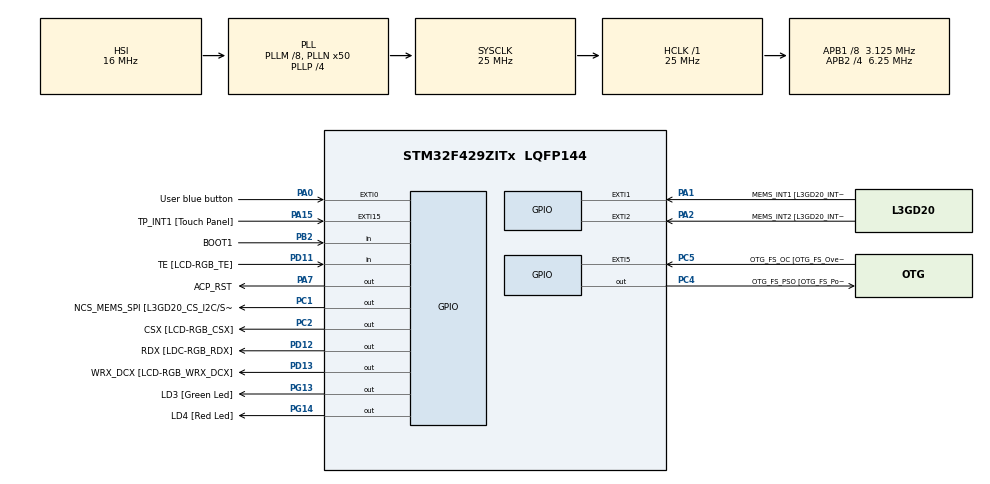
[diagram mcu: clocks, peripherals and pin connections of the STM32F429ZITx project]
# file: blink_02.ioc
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Mcu.Family=STM32F4
Mcu.Name=STM32F429ZITx
Mcu.Package=LQFP144
NVIC.EXTI0_IRQn=true\:0\:0\:false\:false\:true\:true\:true\:true
NVIC.PriorityGroup=NVIC_PRIORITYGROUP_0
PA0/WKUP.GPIO_Label=User blue button 
PA0/WKUP.GPIO_ModeDefaultEXTI=GPIO_MODE_IT_RISING_FALLING
PA0/WKUP.Signal=GPXTI0
PA1.GPIO_Label=MEMS_INT1 [L3GD20_INT1]
PA1.GPIO_ModeDefaultEXTI=GPIO_MODE_EVT_RISING
PA1.GPIO_PuPd=GPIO_NOPULL
PA1.Signal=GPXTI1
PA10.GPIO_Label=STLINK_TX [STM32F103CBT6_PA2]
PA10.Signal=USART1_RX
PA11.GPIO_Label=R4
PA11.GPIO_Mode=GPIO_MODE_AF_PP
PA11.GPIO_PuPd=GPIO_NOPULL
PA11.GPIO_Speed=GPIO_SPEED_FREQ_LOW
PA11.Signal=LTDC_R4
PA12.GPIO_Label=R5
PA12.GPIO_Mode=GPIO_MODE_AF_PP
PA12.GPIO_PuPd=GPIO_NOPULL
PA12.GPIO_Speed=GPIO_SPEED_FREQ_LOW
PA12.Signal=LTDC_R5
PA13.GPIO_Label=SWDIO
PA13.Signal=SYS_JTMS-SWDIO
PA14.GPIO_Label=SWCLK
PA14.Signal=SYS_JTCK-SWCLK
PA15.GPIO_Label=TP_INT1 [Touch Panel]
PA15.GPIO_ModeDefaultEXTI=GPIO_MODE_EVT_RISING
PA15.GPIO_PuPd=GPIO_NOPULL
PA15.Signal=GPXTI15
PA2.GPIO_Label=MEMS_INT2 [L3GD20_INT2]
PA2.GPIO_ModeDefaultEXTI=GPIO_MODE_EVT_RISING
PA2.GPIO_PuPd=GPIO_NOPULL
PA2.Signal=GPXTI2
PA3.GPIO_Label=B5
PA3.GPIO_Mode=GPIO_MODE_AF_PP
PA3.GPIO_PuPd=GPIO_NOPULL
PA3.GPIO_Speed=GPIO_SPEED_FREQ_LOW
PA3.Signal=LTDC_B5
PA4.GPIO_Label=VSYNC
PA4.GPIO_Mode=GPIO_MODE_AF_PP
PA4.GPIO_PuPd=GPIO_NOPULL
PA4.GPIO_Speed=GPIO_SPEED_FREQ_LOW
PA4.Signal=LTDC_VSYNC
PA6.GPIO_Label=G2
PA6.GPIO_Mode=GPIO_MODE_AF_PP
PA6.GPIO_PuPd=GPIO_NOPULL
PA6.GPIO_Speed=GPIO_SPEED_FREQ_LOW
PA6.Signal=LTDC_G2
PA7.GPIO_Label=ACP_RST
PA7.GPIO_Mode=GPIO_MODE_OUTPUT_PP
PA7.GPIO_PuPd=GPIO_NOPULL
PA7.GPIO_Speed=GPIO_SPEED_FREQ_LOW
PA7.Signal=GPIO_Output
PA8.GPIO_Label=I2C3_SCL [ACP/RF_SCL]
PA8.GPIO_Mode=GPIO_MODE_AF_OD
PA8.GPIO_PuPd=GPIO_NOPULL
PA8.GPIO_Speed=GPIO_SPEED_FREQ_LOW
PA8.Signal=I2C3_SCL
PA9.GPIO_Label=STLINK_RX [STM32F103CBT6_PA3]
PA9.Signal=USART1_TX
PB0.GPIO_Label=R3
PB0.GPIO_Mode=GPIO_MODE_AF_PP
PB0.GPIO_PuPd=GPIO_NOPULL
PB0.GPIO_Speed=GPIO_SPEED_FREQ_LOW
PB0.Signal=LTDC_R3
PB1.GPIO_Label=R6
PB1.GPIO_Mode=GPIO_MODE_AF_PP
PB1.GPIO_PuPd=GPIO_NOPULL
PB1.GPIO_Speed=GPIO_SPEED_FREQ_LOW
PB1.Signal=LTDC_R6
PB10.GPIO_Label=G4
PB10.GPIO_Mode=GPIO_MODE_AF_PP
PB10.GPIO_PuPd=GPIO_NOPULL
PB10.GPIO_Speed=GPIO_SPEED_FREQ_LOW
PB10.Signal=LTDC_G4
PB11.GPIO_Label=G5
PB11.GPIO_Mode=GPIO_MODE_AF_PP
PB11.GPIO_PuPd=GPIO_NOPULL
PB11.GPIO_Speed=GPIO_SPEED_FREQ_LOW
PB11.Signal=LTDC_G5
PB12.GPIO_Label=OTG_HS_ID
PB12.GPIO_Mode=GPIO_MODE_AF_PP
PB12.GPIO_PuPd=GPIO_NOPULL
PB12.GPIO_Speed=GPIO_SPEED_FREQ_LOW
PB12.Signal=USB_OTG_HS_ID
PB13.GPIO_Label=VBUS_HS
PB13.GPIO_Mode=GPIO_MODE_INPUT
PB13.GPIO_PuPd=GPIO_NOPULL
PB13.Signal=USB_OTG_HS_VBUS
PB14.GPIO_Label=OTG_HS_DM
PB14.GPIO_Mode=GPIO_MODE_AF_PP
PB14.GPIO_PuPd=GPIO_NOPULL
PB14.GPIO_Speed=GPIO_SPEED_FREQ_LOW
PB14.Signal=USB_OTG_HS_DM
PB15.GPIO_Label=OTG_HS_DP
PB15.GPIO_Mode=GPIO_MODE_AF_PP
PB15.GPIO_PuPd=GPIO_NOPULL
PB15.GPIO_Speed=GPIO_SPEED_FREQ_LOW
PB15.Signal=USB_OTG_HS_DP
PB2/BOOT1.GPIO_Label=BOOT1
PB2/BOOT1.GPIO_Mode=GPIO_MODE_INPUT
PB2/BOOT1.GPIO_PuPd=GPIO_NOPULL
PB2/BOOT1.Signal=GPIO_Input
PB5.GPIO_Label=SDCKE1
PB5.GPIO_Mode=GPIO_MODE_AF_PP
PB5.GPIO_PuPd=GPIO_NOPULL
PB5.GPIO_Speed=GPIO_SPEED_FREQ_VERY_HIGH
PB5.Signal=FMC_SDCKE1
PB6.GPIO_Label=SDNE1 [SDRAM_CS]
PB6.GPIO_Mode=GPIO_MODE_AF_PP
PB6.GPIO_PuPd=GPIO_NOPULL
PB6.GPIO_Speed=GPIO_SPEED_FREQ_VERY_HIGH
PB6.Signal=FMC_SDNE1
PB8.GPIO_Label=B6
PB8.GPIO_Mode=GPIO_MODE_AF_PP
PB8.GPIO_PuPd=GPIO_NOPULL
PB8.GPIO_Speed=GPIO_SPEED_FREQ_LOW
PB8.Signal=LTDC_B6
PB9.GPIO_Label=B7
PB9.GPIO_Mode=GPIO_MODE_AF_PP
PB9.GPIO_PuPd=GPIO_NOPULL
PB9.GPIO_Speed=GPIO_SPEED_FREQ_LOW
PB9.Signal=LTDC_B7
PC0.GPIO_Label=SDNWE
PC0.GPIO_Mode=GPIO_MODE_AF_PP
PC0.GPIO_PuPd=GPIO_NOPULL
PC0.GPIO_Speed=GPIO_SPEED_FREQ_VERY_HIGH
PC0.Signal=FMC_SDNWE
PC1.GPIO_Label=NCS_MEMS_SPI [L3GD20_CS_I2C/SPI]
PC1.GPIO_Mode=GPIO_MODE_OUTPUT_PP
PC1.GPIO_PuPd=GPIO_NOPULL
PC1.GPIO_Speed=GPIO_SPEED_FREQ_LOW
PC1.Signal=GPIO_Output
PC10.GPIO_Label=R2
PC10.GPIO_Mode=GPIO_MODE_AF_PP
PC10.GPIO_PuPd=GPIO_NOPULL
PC10.GPIO_Speed=GPIO_SPEED_FREQ_LOW
PC10.Signal=LTDC_R2
PC14/OSC32_IN.GPIO_Label=PC14-OSC32_IN
PC14/OSC32_IN.Signal=RCC_OSC32_IN
PC15/OSC32_OUT.GPIO_Label=PC15-OSC32_OUT
PC15/OSC32_OUT.Signal=RCC_OSC32_OUT
PC2.GPIO_Label=CSX [LCD-RGB_CSX]
PC2.GPIO_Mode=GPIO_MODE_OUTPUT_PP
PC2.GPIO_PuPd=GPIO_NOPULL
PC2.GPIO_Speed=GPIO_SPEED_FREQ_LOW
PC2.Signal=GPIO_Output
PC4.GPIO_Label=OTG_FS_PSO [OTG_FS_PowerSwitchOn]
PC4.GPIO_Mode=GPIO_MODE_OUTPUT_PP
PC4.GPIO_PuPd=GPIO_NOPULL
PC4.GPIO_Speed=GPIO_SPEED_FREQ_LOW
PC4.Signal=GPIO_Output
PC5.GPIO_Label=OTG_FS_OC [OTG_FS_OverCurrent]
PC5.GPIO_ModeDefaultEXTI=GPIO_MODE_EVT_RISING
PC5.Signal=GPXTI5
PC6.GPIO_Label=HSYNC
PC6.GPIO_Mode=GPIO_MODE_AF_PP
PC6.GPIO_PuPd=GPIO_NOPULL
PC6.GPIO_Speed=GPIO_SPEED_FREQ_LOW
PC6.Signal=LTDC_HSYNC
PC7.GPIO_Label=G6
PC7.GPIO_Mode=GPIO_MODE_AF_PP
PC7.GPIO_PuPd=GPIO_NOPULL
PC7.GPIO_Speed=GPIO_SPEED_FREQ_LOW
PC7.Signal=LTDC_G6
PC9.GPIO_Label=I2C3_SDA [ACP/RF_SDA]
PC9.GPIO_Mode=GPIO_MODE_AF_OD
PC9.GPIO_PuPd=GPIO_NOPULL
PC9.GPIO_Speed=GPIO_SPEED_FREQ_LOW
PC9.Signal=I2C3_SDA
PD0.GPIO_Label=D2
PD0.GPIO_Mode=GPIO_MODE_AF_PP
PD0.GPIO_PuPd=GPIO_NOPULL
PD0.GPIO_Speed=GPIO_SPEED_FREQ_VERY_HIGH
PD0.Signal=FMC_D2_DA2
PD1.GPIO_Label=D3
PD1.GPIO_Mode=GPIO_MODE_AF_PP
PD1.GPIO_PuPd=GPIO_NOPULL
PD1.GPIO_Speed=GPIO_SPEED_FREQ_VERY_HIGH
PD1.Signal=FMC_D3_DA3
PD10.GPIO_Label=D15
PD10.GPIO_Mode=GPIO_MODE_AF_PP
PD10.GPIO_PuPd=GPIO_NOPULL
PD10.GPIO_Speed=GPIO_SPEED_FREQ_VERY_HIGH
PD10.Signal=FMC_D15_DA15
PD11.GPIO_Label=TE [LCD-RGB_TE]
PD11.GPIO_Mode=GPIO_MODE_INPUT
PD11.GPIO_PuPd=GPIO_NOPULL
PD11.Signal=GPIO_Input
PD12.GPIO_Label=RDX [LDC-RGB_RDX]
PD12.GPIO_Mode=GPIO_MODE_OUTPUT_PP
PD12.GPIO_PuPd=GPIO_NOPULL
PD12.GPIO_Speed=GPIO_SPEED_FREQ_LOW
PD12.Signal=GPIO_Output
PD13.GPIO_Label=WRX_DCX [LCD-RGB_WRX_DCX]
PD13.GPIO_Mode=GPIO_MODE_OUTPUT_PP
PD13.GPIO_PuPd=GPIO_NOPULL
PD13.GPIO_Speed=GPIO_SPEED_FREQ_LOW
PD13.Signal=GPIO_Output
PD14.GPIO_Label=D0
PD14.GPIO_Mode=GPIO_MODE_AF_PP
PD14.GPIO_PuPd=GPIO_NOPULL
PD14.GPIO_Speed=GPIO_SPEED_FREQ_VERY_HIGH
PD14.Signal=FMC_D0_DA0
PD15.GPIO_Label=D1
PD15.GPIO_Mode=GPIO_MODE_AF_PP
PD15.GPIO_PuPd=GPIO_NOPULL
PD15.GPIO_Speed=GPIO_SPEED_FREQ_VERY_HIGH
PD15.Signal=FMC_D1_DA1
PD3.GPIO_Label=G7
PD3.GPIO_Mode=GPIO_MODE_AF_PP
PD3.GPIO_PuPd=GPIO_NOPULL
PD3.GPIO_Speed=GPIO_SPEED_FREQ_LOW
PD3.Signal=LTDC_G7
PD6.GPIO_Label=B2
PD6.GPIO_Mode=GPIO_MODE_AF_PP
PD6.GPIO_PuPd=GPIO_NOPULL
PD6.GPIO_Speed=GPIO_SPEED_FREQ_LOW
PD6.Signal=LTDC_B2
PD8.GPIO_Label=D13
PD8.GPIO_Mode=GPIO_MODE_AF_PP
PD8.GPIO_PuPd=GPIO_NOPULL
PD8.GPIO_Speed=GPIO_SPEED_FREQ_VERY_HIGH
PD8.Signal=FMC_D13_DA13
PD9.GPIO_Label=D14
PD9.GPIO_Mode=GPIO_MODE_AF_PP
PD9.GPIO_PuPd=GPIO_NOPULL
PD9.GPIO_Speed=GPIO_SPEED_FREQ_VERY_HIGH
PD9.Signal=FMC_D14_DA14
PE0.GPIO_Label=NBL0 [SDRAM_LDQM]
PE0.GPIO_Mode=GPIO_MODE_AF_PP
PE0.GPIO_PuPd=GPIO_NOPULL
PE0.GPIO_Speed=GPIO_SPEED_FREQ_VERY_HIGH
PE0.Signal=FMC_NBL0
PE1.GPIO_Label=NBL1 [SDRAM_UDQM]
PE1.GPIO_Mode=GPIO_MODE_AF_PP
PE1.GPIO_PuPd=GPIO_NOPULL
PE1.GPIO_Speed=GPIO_SPEED_FREQ_VERY_HIGH
PE1.Signal=FMC_NBL1
PE10.GPIO_Label=D7
PE10.GPIO_Mode=GPIO_MODE_AF_PP
PE10.GPIO_PuPd=GPIO_NOPULL
PE10.GPIO_Speed=GPIO_SPEED_FREQ_VERY_HIGH
PE10.Signal=FMC_D7_DA7
PE11.GPIO_Label=D8
PE11.GPIO_Mode=GPIO_MODE_AF_PP
PE11.GPIO_PuPd=GPIO_NOPULL
PE11.GPIO_Speed=GPIO_SPEED_FREQ_VERY_HIGH
PE11.Signal=FMC_D8_DA8
PE12.GPIO_Label=D9
PE12.GPIO_Mode=GPIO_MODE_AF_PP
PE12.GPIO_PuPd=GPIO_NOPULL
PE12.GPIO_Speed=GPIO_SPEED_FREQ_VERY_HIGH
PE12.Signal=FMC_D9_DA9
PE13.GPIO_Label=D10
PE13.GPIO_Mode=GPIO_MODE_AF_PP
PE13.GPIO_PuPd=GPIO_NOPULL
PE13.GPIO_Speed=GPIO_SPEED_FREQ_VERY_HIGH
PE13.Signal=FMC_D10_DA10
PE14.GPIO_Label=D11
PE14.GPIO_Mode=GPIO_MODE_AF_PP
PE14.GPIO_PuPd=GPIO_NOPULL
PE14.GPIO_Speed=GPIO_SPEED_FREQ_VERY_HIGH
PE14.Signal=FMC_D11_DA11
PE15.GPIO_Label=D12
PE15.GPIO_Mode=GPIO_MODE_AF_PP
PE15.GPIO_PuPd=GPIO_NOPULL
PE15.GPIO_Speed=GPIO_SPEED_FREQ_VERY_HIGH
PE15.Signal=FMC_D12_DA12
PE7.GPIO_Label=D4
PE7.GPIO_Mode=GPIO_MODE_AF_PP
PE7.GPIO_PuPd=GPIO_NOPULL
PE7.GPIO_Speed=GPIO_SPEED_FREQ_VERY_HIGH
PE7.Signal=FMC_D4_DA4
PE8.GPIO_Label=D5
PE8.GPIO_Mode=GPIO_MODE_AF_PP
PE8.GPIO_PuPd=GPIO_NOPULL
PE8.GPIO_Speed=GPIO_SPEED_FREQ_VERY_HIGH
PE8.Signal=FMC_D5_DA5
PE9.GPIO_Label=D6
PE9.GPIO_Mode=GPIO_MODE_AF_PP
PE9.GPIO_PuPd=GPIO_NOPULL
PE9.GPIO_Speed=GPIO_SPEED_FREQ_VERY_HIGH
PE9.Signal=FMC_D6_DA6
PF0.GPIO_Label=A0
PF0.GPIO_Mode=GPIO_MODE_AF_PP
PF0.GPIO_PuPd=GPIO_NOPULL
PF0.GPIO_Speed=GPIO_SPEED_FREQ_VERY_HIGH
PF0.Signal=FMC_A0
PF1.GPIO_Label=A1
PF1.GPIO_Mode=GPIO_MODE_AF_PP
PF1.GPIO_PuPd=GPIO_NOPULL
PF1.GPIO_Speed=GPIO_SPEED_FREQ_VERY_HIGH
PF1.Signal=FMC_A1
PF10.GPIO_Label=ENABLE [LCD-RGB_ENABLE]
PF10.GPIO_Mode=GPIO_MODE_AF_PP
PF10.GPIO_PuPd=GPIO_NOPULL
PF10.GPIO_Speed=GPIO_SPEED_FREQ_LOW
PF10.Signal=LTDC_DE
PF11.GPIO_Label=SDNRAS
PF11.GPIO_Mode=GPIO_MODE_AF_PP
PF11.GPIO_PuPd=GPIO_NOPULL
PF11.GPIO_Speed=GPIO_SPEED_FREQ_VERY_HIGH
PF11.Signal=FMC_SDNRAS
PF12.GPIO_Label=A6
PF12.GPIO_Mode=GPIO_MODE_AF_PP
PF12.GPIO_PuPd=GPIO_NOPULL
PF12.GPIO_Speed=GPIO_SPEED_FREQ_VERY_HIGH
PF12.Signal=FMC_A6
PF13.GPIO_Label=A7
PF13.GPIO_Mode=GPIO_MODE_AF_PP
PF13.GPIO_PuPd=GPIO_NOPULL
PF13.GPIO_Speed=GPIO_SPEED_FREQ_VERY_HIGH
PF13.Signal=FMC_A7
PF14.GPIO_Label=A8
PF14.GPIO_Mode=GPIO_MODE_AF_PP
PF14.GPIO_PuPd=GPIO_NOPULL
PF14.GPIO_Speed=GPIO_SPEED_FREQ_VERY_HIGH
PF14.Signal=FMC_A8
PF15.GPIO_Label=A9
PF15.GPIO_Mode=GPIO_MODE_AF_PP
PF15.GPIO_PuPd=GPIO_NOPULL
PF15.GPIO_Speed=GPIO_SPEED_FREQ_VERY_HIGH
PF15.Signal=FMC_A9
PF2.GPIO_Label=A2
PF2.GPIO_Mode=GPIO_MODE_AF_PP
PF2.GPIO_PuPd=GPIO_NOPULL
PF2.GPIO_Speed=GPIO_SPEED_FREQ_VERY_HIGH
PF2.Signal=FMC_A2
PF3.GPIO_Label=A3
PF3.GPIO_Mode=GPIO_MODE_AF_PP
PF3.GPIO_PuPd=GPIO_NOPULL
PF3.GPIO_Speed=GPIO_SPEED_FREQ_VERY_HIGH
PF3.Signal=FMC_A3
PF4.GPIO_Label=A4
PF4.GPIO_Mode=GPIO_MODE_AF_PP
PF4.GPIO_PuPd=GPIO_NOPULL
PF4.GPIO_Speed=GPIO_SPEED_FREQ_VERY_HIGH
PF4.Signal=FMC_A4
PF5.GPIO_Label=A5
PF5.GPIO_Mode=GPIO_MODE_AF_PP
PF5.GPIO_PuPd=GPIO_NOPULL
PF5.GPIO_Speed=GPIO_SPEED_FREQ_VERY_HIGH
PF5.Signal=FMC_A5
PF7.GPIO_Label=SPI5_SCK [L3GD20_SCL/SPC]
PF7.GPIO_Mode=GPIO_MODE_AF_PP
PF7.GPIO_PuPd=GPIO_NOPULL
PF7.GPIO_Speed=GPIO_SPEED_FREQ_LOW
PF7.Signal=SPI5_SCK
PF8.GPIO_Label=SPI5_MISO [L3GD20_SDO]
PF8.GPIO_Mode=GPIO_MODE_AF_PP
PF8.GPIO_PuPd=GPIO_NOPULL
PF8.GPIO_Speed=GPIO_SPEED_FREQ_LOW
PF8.Signal=SPI5_MISO
PF9.GPIO_Label=SPI5_MOSI [L3GD20_SDA/SDI/SDO]
PF9.GPIO_Mode=GPIO_MODE_AF_PP
PF9.GPIO_PuPd=GPIO_NOPULL
PF9.GPIO_Speed=GPIO_SPEED_FREQ_LOW
PF9.Signal=SPI5_MOSI
PG0.GPIO_Label=A10
PG0.GPIO_Mode=GPIO_MODE_AF_PP
PG0.GPIO_PuPd=GPIO_NOPULL
PG0.GPIO_Speed=GPIO_SPEED_FREQ_VERY_HIGH
PG0.Signal=FMC_A10
PG1.GPIO_Label=A11
PG1.GPIO_Mode=GPIO_MODE_AF_PP
PG1.GPIO_PuPd=GPIO_NOPULL
PG1.GPIO_Speed=GPIO_SPEED_FREQ_VERY_HIGH
PG1.Signal=FMC_A11
PG10.GPIO_Label=G3
PG10.GPIO_Mode=GPIO_MODE_AF_PP
PG10.GPIO_PuPd=GPIO_NOPULL
PG10.GPIO_Speed=GPIO_SPEED_FREQ_LOW
PG10.Signal=LTDC_G3
PG11.GPIO_Label=B3
PG11.GPIO_Mode=GPIO_MODE_AF_PP
PG11.GPIO_PuPd=GPIO_NOPULL
PG11.GPIO_Speed=GPIO_SPEED_FREQ_LOW
PG11.Signal=LTDC_B3
PG12.GPIO_Label=B4
PG12.GPIO_Mode=GPIO_MODE_AF_PP
PG12.GPIO_PuPd=GPIO_NOPULL
PG12.GPIO_Speed=GPIO_SPEED_FREQ_LOW
PG12.Signal=LTDC_B4
PG13.GPIO_Label=LD3 [Green Led]
PG13.GPIO_Mode=GPIO_MODE_OUTPUT_PP
PG13.GPIO_PuPd=GPIO_NOPULL
PG13.GPIO_Speed=GPIO_SPEED_FREQ_LOW
PG13.Signal=GPIO_Output
PG14.GPIO_Label=LD4 [Red Led]
PG14.GPIO_Mode=GPIO_MODE_OUTPUT_PP
PG14.GPIO_PuPd=GPIO_NOPULL
PG14.GPIO_Speed=GPIO_SPEED_FREQ_LOW
PG14.Signal=GPIO_Output
PG15.GPIO_Label=SDNCAS
PG15.GPIO_Mode=GPIO_MODE_AF_PP
PG15.GPIO_PuPd=GPIO_NOPULL
PG15.GPIO_Speed=GPIO_SPEED_FREQ_VERY_HIGH
PG15.Signal=FMC_SDNCAS
PG4.GPIO_Label=BA0
PG4.GPIO_Mode=GPIO_MODE_AF_PP
PG4.GPIO_PuPd=GPIO_NOPULL
PG4.GPIO_Speed=GPIO_SPEED_FREQ_VERY_HIGH
PG4.Signal=FMC_A14_BA0
PG5.GPIO_Label=BA1
PG5.GPIO_Mode=GPIO_MODE_AF_PP
PG5.GPIO_PuPd=GPIO_NOPULL
PG5.GPIO_Speed=GPIO_SPEED_FREQ_VERY_HIGH
PG5.Signal=FMC_A15_BA1
PG6.GPIO_Label=R7
PG6.GPIO_Mode=GPIO_MODE_AF_PP
PG6.GPIO_PuPd=GPIO_NOPULL
PG6.GPIO_Speed=GPIO_SPEED_FREQ_LOW
PG6.Signal=LTDC_R7
PG7.GPIO_Label=DOTCLK [LCT-RGB_DOTCLK]
PG7.GPIO_Mode=GPIO_MODE_AF_PP
PG7.GPIO_PuPd=GPIO_NOPULL
PG7.GPIO_Speed=GPIO_SPEED_FREQ_LOW
PG7.Signal=LTDC_CLK
PG8.GPIO_Label=SDCLK
PG8.GPIO_Mode=GPIO_MODE_AF_PP
PG8.GPIO_PuPd=GPIO_NOPULL
PG8.GPIO_Speed=GPIO_SPEED_FREQ_VERY_HIGH
PG8.Signal=FMC_SDCLK
PH0/OSC_IN.GPIO_Label=PH0-OSC_IN
PH0/OSC_IN.Mode=HSE-External-Oscillator
PH0/OSC_IN.Signal=RCC_OSC_IN
PH1/OSC_OUT.GPIO_Label=PH1-OSC_OUT
PH1/OSC_OUT.Mode=HSE-External-Oscillator
PH1/OSC_OUT.Signal=RCC_OSC_OUT
ProjectManager.HeapSize=0x200
ProjectManager.StackSize=0x400
ProjectManager.TargetToolchain=STM32CubeIDE
RCC.48MHZClocksFreq_Value=14285714.285714285
RCC.AHBFreq_Value=25000000
RCC.APB1CLKDivider=RCC_HCLK_DIV8
RCC.APB1Freq_Value=3125000
RCC.APB1TimFreq_Value=6250000
RCC.APB2CLKDivider=RCC_HCLK_DIV4
RCC.APB2Freq_Value=6250000
RCC.APB2TimFreq_Value=12500000
RCC.CortexFreq_Value=25000000
RCC.HCLKFreq_Value=25000000
RCC.HSE_VALUE=8000000
RCC.HSI_VALUE=16000000
RCC.LSE_VALUE=32768
RCC.PLLM=8
RCC.PLLN=50
RCC.PLLP=RCC_PLLP_DIV4
RCC.PLLQ=7
RCC.SYSCLKFreq_VALUE=25000000
RCC.SYSCLKSource=RCC_SYSCLKSOURCE_PLLCLK
RCC.VCOOutputFreq_Value=100000000
SH.FMC_A0.0=FMC_A0
SH.FMC_A1.0=FMC_A1
SH.FMC_A10.0=FMC_A10
SH.FMC_A11.0=FMC_A11
SH.FMC_A14_BA0.0=FMC_BA0
SH.FMC_A15_BA1.0=FMC_BA1
SH.FMC_A2.0=FMC_A2
SH.FMC_A3.0=FMC_A3
SH.FMC_A4.0=FMC_A4
SH.FMC_A5.0=FMC_A5
SH.FMC_A6.0=FMC_A6
SH.FMC_A7.0=FMC_A7
SH.FMC_A8.0=FMC_A8
SH.FMC_A9.0=FMC_A9
SH.FMC_D0_DA0.0=FMC_D0
SH.FMC_D10_DA10.0=FMC_D10
SH.FMC_D11_DA11.0=FMC_D11
SH.FMC_D12_DA12.0=FMC_D12
SH.FMC_D13_DA13.0=FMC_D13
SH.FMC_D14_DA14.0=FMC_D14
SH.FMC_D15_DA15.0=FMC_D15
SH.FMC_D1_DA1.0=FMC_D1
SH.FMC_D2_DA2.0=FMC_D2
SH.FMC_D3_DA3.0=FMC_D3
SH.FMC_D4_DA4.0=FMC_D4
SH.FMC_D5_DA5.0=FMC_D5
SH.FMC_D6_DA6.0=FMC_D6
SH.FMC_D7_DA7.0=FMC_D7
SH.FMC_D8_DA8.0=FMC_D8
SH.FMC_D9_DA9.0=FMC_D9
SH.FMC_NBL0.0=FMC_NBL0
SH.FMC_NBL1.0=FMC_NBL1
SH.FMC_SDCLK.0=FMC_SDCLK
SH.FMC_SDNCAS.0=FMC_SDNCAS
SH.FMC_SDNRAS.0=FMC_SDNRAS
SH.FMC_SDNWE.0=FMC_SDNWE
board=STM32F429I-DISC1

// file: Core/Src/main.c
/* USER CODE BEGIN Header */
/**
  ******************************************************************************
  * @file           : main.c
  * @brief          : Main program body
  ******************************************************************************
  * @attention
  *
  * Copyright (c) 2022 STMicroelectronics.
  * All rights reserved.
  *
  * This software is licensed under terms that can be found in the LICENSE file
  * in the root directory of this software component.
  * If no LICENSE file comes with this software, it is provided AS-IS.
  *
  ******************************************************************************
  */
/* USER CODE END Header */
#include "main.h"
#include "gpio.h"

/* USER CODE BEGIN PTD */
// the four user LED register locations

/* USER CODE END PTD */

/* USER CODE BEGIN PV */
struct LEDS {
		GPIO_TypeDef * port;
	    uint16_t pin;
	  };

typedef enum{
	SINGLE_PRESS,
	DOUBLE_PRESS,
	LONG_PRESS,
	NO_PRESS
} ButtonPressType;

int ledArrayIndex = 0;// which LED we are lighting
int ledGoing = 0;// if the LEDS are going
ButtonPressType buttonPress= NO_PRESS;
uint16_t userButtonPin = GPIO_PIN_0;
GPIO_TypeDef *userButtonPort = GPIOA;
static uint32_t doubleClickMargin = 2000;
static uint32_t debounceTime = 50;
static uint32_t lastButtonPress=0;

/* USER CODE END PV */

void SystemClock_Config(void);
/* USER CODE BEGIN PFP */
ButtonPressType getButtonStatus();
void buttonDownEvent();
void buttonUpEvent();
/* USER CODE END PFP */

int main(void)
{
  /* USER CODE BEGIN 1 */

	struct LEDS ledsInfo[] ={{GPIOG, GPIO_PIN_13} //User LD3: The green LED
	,{GPIOG,GPIO_PIN_14}// User LD4: The red LED
	} ;

  /* USER CODE END 1 */

  /* MCU Configuration--------------------------------------------------------*/

  /* Reset of all peripherals, Initializes the Flash interface and the Systick. */
  HAL_Init();

  /* Configure the system clock */
  SystemClock_Config();

  /* Initialize all configured peripherals */
  MX_GPIO_Init();
  /* USER CODE BEGIN 2 */
  	ledArrayIndex = 0;
  /* USER CODE END 2 */

  /* Infinite loop */
  /* USER CODE BEGIN WHILE */
  while (1)
  {

	// ledArrayIndex is set in the button press call back and switches between
	if(ledGoing)
	{
		// the users red led and the green led.
		GPIO_TypeDef * currentPort = ledsInfo[ledArrayIndex].port;
		uint16_t currentPin = ledsInfo[ledArrayIndex].pin;

		// Use the HAL calls to set the Pin
		HAL_GPIO_WritePin(currentPort,currentPin, GPIO_PIN_SET);
		HAL_Delay(1000);
		// rest to turn it off.
		HAL_GPIO_WritePin(currentPort,currentPin, GPIO_PIN_RESET);
		HAL_Delay(1000);

		// Direct register call - set current Pin high
		currentPort->BSRR = currentPin;
		// clear the bit to turn it off.
		HAL_Delay(1000);
		currentPort->BSRR = (uint32_t)currentPin << 16U;
		HAL_Delay(1000);
	}

    /* USER CODE END WHILE */

  }
}

void SystemClock_Config(void)
{
  RCC_OscInitTypeDef RCC_OscInitStruct = {0};
  RCC_ClkInitTypeDef RCC_ClkInitStruct = {0};

  /** Configure the main internal regulator output voltage
  */
  __HAL_RCC_PWR_CLK_ENABLE();
  __HAL_PWR_VOLTAGESCALING_CONFIG(PWR_REGULATOR_VOLTAGE_SCALE3);

  /** Initializes the RCC Oscillators according to the specified parameters
  * in the RCC_OscInitTypeDef structure.
  */
  RCC_OscInitStruct.OscillatorType = RCC_OSCILLATORTYPE_HSI;
  RCC_OscInitStruct.HSIState = RCC_HSI_ON;
  RCC_OscInitStruct.HSICalibrationValue = RCC_HSICALIBRATION_DEFAULT;
  RCC_OscInitStruct.PLL.PLLState = RCC_PLL_ON;
  RCC_OscInitStruct.PLL.PLLSource = RCC_PLLSOURCE_HSI;
  RCC_OscInitStruct.PLL.PLLM = 8;
  RCC_OscInitStruct.PLL.PLLN = 50;
  RCC_OscInitStruct.PLL.PLLP = RCC_PLLP_DIV4;
  RCC_OscInitStruct.PLL.PLLQ = 7;
  if (HAL_RCC_OscConfig(&RCC_OscInitStruct) != HAL_OK)
  {
    Error_Handler();
  }

  /** Initializes the CPU, AHB and APB buses clocks
  */
  RCC_ClkInitStruct.ClockType = RCC_CLOCKTYPE_HCLK|RCC_CLOCKTYPE_SYSCLK
                              |RCC_CLOCKTYPE_PCLK1|RCC_CLOCKTYPE_PCLK2;
  RCC_ClkInitStruct.SYSCLKSource = RCC_SYSCLKSOURCE_PLLCLK;
  RCC_ClkInitStruct.AHBCLKDivider = RCC_SYSCLK_DIV1;
  RCC_ClkInitStruct.APB1CLKDivider = RCC_HCLK_DIV8;
  RCC_ClkInitStruct.APB2CLKDivider = RCC_HCLK_DIV4;

  if (HAL_RCC_ClockConfig(&RCC_ClkInitStruct, FLASH_LATENCY_0) != HAL_OK)
  {
    Error_Handler();
  }
}

/* USER CODE BEGIN 4 */

void buttonDownEvent()
{
	// set last button down event
	uint32_t thisButtonEvent = HAL_GetTick() ;
	// if the last button down event is within our double click time frame run double click
	uint32_t diff = thisButtonEvent - lastButtonPress;

	if( (thisButtonEvent - lastButtonPress) <= doubleClickMargin)
	{
		ledArrayIndex = 1-ledArrayIndex;
	}
	else{
		// else its single click
		ledGoing = 1 - ledGoing;
	}

	lastButtonPress = thisButtonEvent;

}
void buttonUpEvent()
{}

void HAL_GPIO_EXTI_Callback(uint16_t GPIO_Pin)
{

	/*if (GPIO_Pin == userButtonPin){// make we are only looking at the user button.
		if (HAL_GPIO_ReadPin (userButtonPort, userButtonPin)==GPIO_PIN_SET)
		{
			buttonPressTime = HAL_GetTick();
		}

	}*/
	static int timestamp_pressed = -1; // -1 means not pressed

	if(HAL_GPIO_ReadPin (userButtonPort, userButtonPin)==GPIO_PIN_SET){
		if (timestamp_pressed == -1) {
			// user just pressed the button
			timestamp_pressed = HAL_GetTick();  // milliseconds since startup
		}
		else if (HAL_GetTick() - timestamp_pressed > debounceTime) {

				buttonDownEvent();

			}
	}
	else{
		if (timestamp_pressed == -1) {
				// user just pressed the button
				timestamp_pressed = HAL_GetTick();  // milliseconds since startup
			}
			else if (HAL_GetTick() - timestamp_pressed > debounceTime) {

					buttonUpEvent();

				}

	}

}

/* USER CODE END 4 */

void Error_Handler(void)
{
  __disable_irq();
  while (1)
  {
  }
}
